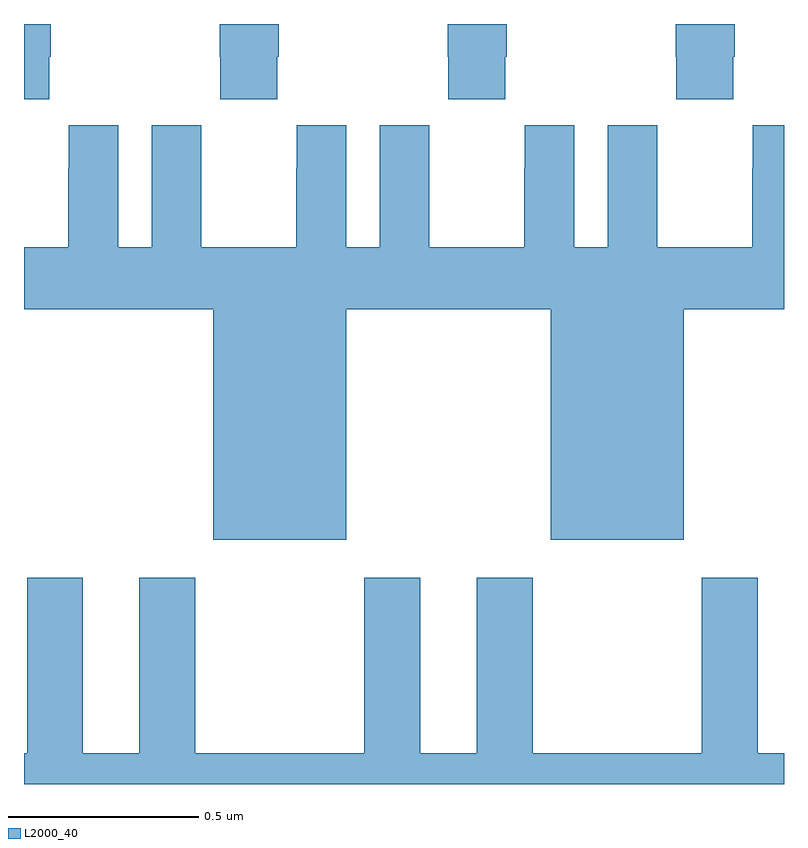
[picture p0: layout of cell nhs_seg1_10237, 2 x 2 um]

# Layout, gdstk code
import gdstk
lib = gdstk.Library(unit=1e-6, precision=1e-09)
def P(c, l, *ps):  # polygons
    for p in ps: c.add(gdstk.Polygon(p, *l))
L2000_40 = (2000, 40)

nhs_seg1_10237 = lib.new_cell('nhs_seg1_10237')
P(nhs_seg1_10237, L2000_40, [(239.067,503.113),(239.07,503.113),(239.07,503.199),(239,503.199),(239,503.001),(239.067,503.001)],
  [(239.667,503.113),(239.67,503.113),(239.67,503.199),(239.515,503.199),(239.515,503.113),(239.517,503.113),(239.517,503.001),(239.667,503.001)],
  [(240.267,503.113),(240.27,503.113),(240.27,503.199),(240.115,503.199),(240.115,503.113),(240.117,503.113),(240.117,503.001),(240.267,503.001)],
  [(240.867,503.113),(240.87,503.113),(240.87,503.199),(240.715,503.199),(240.715,503.113),(240.717,503.113),(240.717,503.001),(240.867,503.001)],
  [(240.386,501.842),(240.736,501.842),(240.736,502.448),(241,502.448),(241,502.933),(240.918,502.933),(240.918,502.82),(240.917,502.82),(240.917,502.612),(240.667,502.612),(240.667,502.82),(240.666,502.82),(240.666,502.933),(240.536,502.933),(240.536,502.612),(240.448,502.612),(240.448,502.933),(240.318,502.933),(240.318,502.82),(240.317,502.82),(240.317,502.612),(240.067,502.612),(240.067,502.82),(240.066,502.82),(240.066,502.933),(239.936,502.933),(239.936,502.612),(239.848,502.612),(239.848,502.933),(239.718,502.933),(239.718,502.82),(239.717,502.82),(239.717,502.612),(239.467,502.612),(239.467,502.82),(239.466,502.82),(239.466,502.933),(239.336,502.933),(239.336,502.612),(239.248,502.612),(239.248,502.933),(239.118,502.933),(239.118,502.82),(239.117,502.82),(239.117,502.612),(239,502.612),(239,502.448),(239.498,502.448),(239.498,501.842),(239.848,501.842),(239.848,502.448),(240.386,502.448)],
  [(241,501.28),(240.931,501.28),(240.931,501.742),(240.784,501.742),(240.784,501.28),(240.339,501.28),(240.339,501.742),(240.191,501.742),(240.191,501.28),(240.043,501.28),(240.043,501.742),(239.896,501.742),(239.896,501.28),(239.451,501.28),(239.451,501.742),(239.303,501.742),(239.303,501.28),(239.155,501.28),(239.155,501.742),(239.008,501.742),(239.008,501.28),(239,501.28),(239,501.199),(241,501.199)])

lib.write_gds('nhs_seg1_10237.gds')
